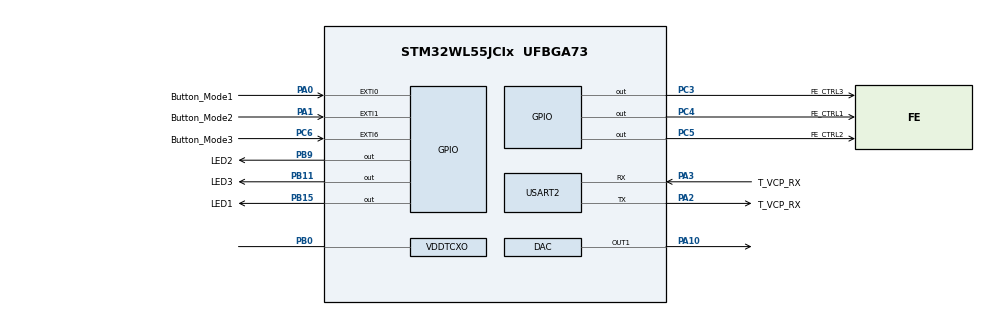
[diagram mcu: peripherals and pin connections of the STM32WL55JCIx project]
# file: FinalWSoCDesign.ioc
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DAC.DAC_Trigger-DAC_OUT1=DAC_TRIGGER_NONE
Mcu.Family=STM32WL
Mcu.Name=STM32WL55JCIx
Mcu.Package=UFBGA73
NVIC.DAC_IRQn=true\:0\:0\:false\:false\:true\:true\:true\:true
NVIC.EXTI0_IRQn=true\:0\:0\:false\:false\:true\:true\:true\:true
NVIC.EXTI1_IRQn=true\:0\:0\:false\:false\:true\:true\:true\:true
NVIC.EXTI9_5_IRQn=true\:0\:0\:false\:false\:true\:true\:true\:true
NVIC.PriorityGroup=NVIC_PRIORITYGROUP_4
NVIC.TIM1_BRK_IRQn=true\:0\:0\:false\:false\:true\:true\:true\:true
NVIC.TIM1_CC_IRQn=true\:0\:0\:false\:false\:true\:true\:true\:true
NVIC.TIM1_TRG_COM_IRQn=true\:0\:0\:false\:false\:true\:true\:true\:true
NVIC.TIM1_UP_IRQn=true\:0\:0\:false\:false\:true\:true\:true\:true
OSC_IN.Mode=HSE-TCXO
OSC_IN.Signal=RCC_OSC_IN
PA0.GPIO_Label=Button_Mode1
PA0.GPIO_ModeDefaultEXTI=GPIO_MODE_IT_FALLING
PA0.GPIO_PuPd=GPIO_PULLUP
PA0.Signal=GPXTI0
PA1.GPIO_Label=Button_Mode2
PA1.GPIO_ModeDefaultEXTI=GPIO_MODE_IT_FALLING
PA1.GPIO_PuPd=GPIO_PULLUP
PA1.Signal=GPXTI1
PA10.Signal=COMP_DAC1_group
PA13.Mode=Serial_Wire
PA13.Signal=DEBUG_JTMS-SWDIO
PA14.Mode=Serial_Wire
PA14.Signal=DEBUG_JTCK-SWCLK
PA2.GPIO_Label=T_VCP_RX
PA2.Mode=Asynchronous
PA2.Signal=USART2_TX
PA3.GPIO_Label=T_VCP_RX
PA3.Mode=Asynchronous
PA3.Signal=USART2_RX
PB0-VDD_TCXO.Mode=HSE-TCXO
PB0-VDD_TCXO.Signal=VDDTCXO
PB11.GPIO_Label=LED3
PB11.GPIO_Speed=GPIO_SPEED_FREQ_HIGH
PB11.Signal=GPIO_Output
PB15.GPIO_Label=LED1
PB15.GPIO_Speed=GPIO_SPEED_FREQ_HIGH
PB15.Signal=GPIO_Output
PB9.GPIO_FM9=__NULL
PB9.GPIO_Label=LED2
PB9.GPIO_Speed=GPIO_SPEED_FREQ_HIGH
PB9.Signal=GPIO_Output
PC14-OSC32_IN.Mode=LSE-External-Oscillator
PC14-OSC32_IN.Signal=RCC_OSC32_IN
PC15-OSC32_OUT.Mode=LSE-External-Oscillator
PC15-OSC32_OUT.Signal=RCC_OSC32_OUT
PC3.GPIO_Label=FE_CTRL3
PC3.GPIO_Speed=GPIO_SPEED_FREQ_VERY_HIGH
PC3.Signal=GPIO_Output
PC4.GPIO_Label=FE_CTRL1
PC4.GPIO_Speed=GPIO_SPEED_FREQ_VERY_HIGH
PC4.Signal=GPIO_Output
PC5.GPIO_Label=FE_CTRL2
PC5.GPIO_Speed=GPIO_SPEED_FREQ_VERY_HIGH
PC5.Signal=GPIO_Output
PC6.GPIO_Label=Button_Mode3
PC6.GPIO_ModeDefaultEXTI=GPIO_MODE_IT_FALLING
PC6.GPIO_PuPd=GPIO_PULLUP
PC6.Signal=GPXTI6
ProjectManager.HeapSize=0x200
ProjectManager.StackSize=0x400
ProjectManager.TargetToolchain=STM32CubeIDE
RCC.HSE_VALUE=16000000
RCC.HSI_VALUE=16000000
RCC.LSE_VALUE=32768
RCC.VCOOutputFreq_Value=32000000
SH.COMP_DAC1_group.0=DAC_OUT1,DAC_OUT1
TIM1.Prescaler=8
USART2.VirtualMode-Asynchronous=VM_ASYNC
VP_TIM1_VS_ClockSourceINT.Mode=Internal
board=NUCLEO-WL55JC1

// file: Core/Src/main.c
/* USER CODE BEGIN Header */
/**
  ******************************************************************************
  * @file           : main.c
  * @brief          : Main program body
  ******************************************************************************
  * @attention
  *
  * Copyright (c) 2023 STMicroelectronics.
  * All rights reserved.
  *
  * This software is licensed under terms that can be found in the LICENSE file
  * in the root directory of this software component.
  * If no LICENSE file comes with this software, it is provided AS-IS.
  *
  ******************************************************************************
  */
/* USER CODE END Header */
#include "main.h"

DAC_HandleTypeDef hdac;

TIM_HandleTypeDef htim1;

UART_HandleTypeDef huart2;

/* USER CODE BEGIN PV */
int modeVar; // mode Select variable
uint32_t dacVolt;
uint32_t DAC_OUT[4] = {0, 1241, 2482, 3723};
/* USER CODE END PV */

void SystemClock_Config(void);
static void MX_GPIO_Init(void);
static void MX_TIM1_Init(void);
static void MX_USART2_UART_Init(void);
static void MX_DAC_Init(void);

int main(void)
{
  /* USER CODE BEGIN 1 */
	modeVar = 0;
	dacVolt = 0;

  /* USER CODE END 1 */

  /* MCU Configuration--------------------------------------------------------*/

  /* Reset of all peripherals, Initializes the Flash interface and the Systick. */
  HAL_Init();

  /* Configure the system clock */
  SystemClock_Config();

  /* Initialize all configured peripherals */
  MX_GPIO_Init();
  MX_TIM1_Init();
  MX_USART2_UART_Init();
  MX_DAC_Init();
  /* USER CODE BEGIN 2 */
  HAL_DAC_Start(&hdac, DAC_CHANNEL_1);
  /* USER CODE END 2 */

  /* Infinite loop */
  /* USER CODE BEGIN WHILE */
  while (1)
  {/* USER CODE BEGIN WHILE */
    /* USER CODE BEGIN 3 */
	if(modeVar != 0)
		{
			HAL_DAC_SetValue(&hdac,DAC_CHANNEL_1,DAC_ALIGN_12B_R, dacVolt);
			HAL_Delay(10);
		}
	  /* USER CODE END 3 */
  }
}

void SystemClock_Config(void)
{
  RCC_OscInitTypeDef RCC_OscInitStruct = {0};
  RCC_ClkInitTypeDef RCC_ClkInitStruct = {0};

  /** Configure LSE Drive Capability
  */
  HAL_PWR_EnableBkUpAccess();
  __HAL_RCC_LSEDRIVE_CONFIG(RCC_LSEDRIVE_LOW);

  /** Configure the main internal regulator output voltage
  */
  __HAL_PWR_VOLTAGESCALING_CONFIG(PWR_REGULATOR_VOLTAGE_SCALE2);

  /** Initializes the CPU, AHB and APB buses clocks
  */
  RCC_OscInitStruct.OscillatorType = RCC_OSCILLATORTYPE_LSE|RCC_OSCILLATORTYPE_MSI;
  RCC_OscInitStruct.LSEState = RCC_LSE_ON;
  RCC_OscInitStruct.MSIState = RCC_MSI_ON;
  RCC_OscInitStruct.MSICalibrationValue = RCC_MSICALIBRATION_DEFAULT;
  RCC_OscInitStruct.MSIClockRange = RCC_MSIRANGE_6;
  RCC_OscInitStruct.PLL.PLLState = RCC_PLL_NONE;
  if (HAL_RCC_OscConfig(&RCC_OscInitStruct) != HAL_OK)
  {
    Error_Handler();
  }

  /** Configure the SYSCLKSource, HCLK, PCLK1 and PCLK2 clocks dividers
  */
  RCC_ClkInitStruct.ClockType = RCC_CLOCKTYPE_HCLK3|RCC_CLOCKTYPE_HCLK
                              |RCC_CLOCKTYPE_SYSCLK|RCC_CLOCKTYPE_PCLK1
                              |RCC_CLOCKTYPE_PCLK2;
  RCC_ClkInitStruct.SYSCLKSource = RCC_SYSCLKSOURCE_MSI;
  RCC_ClkInitStruct.AHBCLKDivider = RCC_SYSCLK_DIV1;
  RCC_ClkInitStruct.APB1CLKDivider = RCC_HCLK_DIV1;
  RCC_ClkInitStruct.APB2CLKDivider = RCC_HCLK_DIV1;
  RCC_ClkInitStruct.AHBCLK3Divider = RCC_SYSCLK_DIV1;

  if (HAL_RCC_ClockConfig(&RCC_ClkInitStruct, FLASH_LATENCY_0) != HAL_OK)
  {
    Error_Handler();
  }
}

static void MX_DAC_Init(void)
{

  DAC_ChannelConfTypeDef sConfig = {0};

  /** DAC Initialization
  */
  hdac.Instance = DAC;
  if (HAL_DAC_Init(&hdac) != HAL_OK)
  {
    Error_Handler();
  }

  /** DAC channel OUT1 config
  */
  sConfig.DAC_SampleAndHold = DAC_SAMPLEANDHOLD_DISABLE;
  sConfig.DAC_Trigger = DAC_TRIGGER_NONE;
  sConfig.DAC_OutputBuffer = DAC_OUTPUTBUFFER_ENABLE;
  sConfig.DAC_ConnectOnChipPeripheral = DAC_CHIPCONNECT_DISABLE;
  sConfig.DAC_UserTrimming = DAC_TRIMMING_FACTORY;
  if (HAL_DAC_ConfigChannel(&hdac, &sConfig, DAC_CHANNEL_1) != HAL_OK)
  {
    Error_Handler();
  }

}

static void MX_TIM1_Init(void)
{

  TIM_ClockConfigTypeDef sClockSourceConfig = {0};
  TIM_MasterConfigTypeDef sMasterConfig = {0};

  htim1.Instance = TIM1;
  htim1.Init.Prescaler = 8;
  htim1.Init.CounterMode = TIM_COUNTERMODE_UP;
  htim1.Init.Period = 65535;
  htim1.Init.ClockDivision = TIM_CLOCKDIVISION_DIV1;
  htim1.Init.RepetitionCounter = 0;
  htim1.Init.AutoReloadPreload = TIM_AUTORELOAD_PRELOAD_DISABLE;
  if (HAL_TIM_Base_Init(&htim1) != HAL_OK)
  {
    Error_Handler();
  }
  sClockSourceConfig.ClockSource = TIM_CLOCKSOURCE_INTERNAL;
  if (HAL_TIM_ConfigClockSource(&htim1, &sClockSourceConfig) != HAL_OK)
  {
    Error_Handler();
  }
  sMasterConfig.MasterOutputTrigger = TIM_TRGO_RESET;
  sMasterConfig.MasterOutputTrigger2 = TIM_TRGO2_RESET;
  sMasterConfig.MasterSlaveMode = TIM_MASTERSLAVEMODE_DISABLE;
  if (HAL_TIMEx_MasterConfigSynchronization(&htim1, &sMasterConfig) != HAL_OK)
  {
    Error_Handler();
  }

}

static void MX_USART2_UART_Init(void)
{

  huart2.Instance = USART2;
  huart2.Init.BaudRate = 115200;
  huart2.Init.WordLength = UART_WORDLENGTH_8B;
  huart2.Init.StopBits = UART_STOPBITS_1;
  huart2.Init.Parity = UART_PARITY_NONE;
  huart2.Init.Mode = UART_MODE_TX_RX;
  huart2.Init.HwFlowCtl = UART_HWCONTROL_NONE;
  huart2.Init.OverSampling = UART_OVERSAMPLING_16;
  huart2.Init.OneBitSampling = UART_ONE_BIT_SAMPLE_DISABLE;
  huart2.Init.ClockPrescaler = UART_PRESCALER_DIV1;
  huart2.AdvancedInit.AdvFeatureInit = UART_ADVFEATURE_NO_INIT;
  if (HAL_UART_Init(&huart2) != HAL_OK)
  {
    Error_Handler();
  }
  if (HAL_UARTEx_SetTxFifoThreshold(&huart2, UART_TXFIFO_THRESHOLD_1_8) != HAL_OK)
  {
    Error_Handler();
  }
  if (HAL_UARTEx_SetRxFifoThreshold(&huart2, UART_RXFIFO_THRESHOLD_1_8) != HAL_OK)
  {
    Error_Handler();
  }
  if (HAL_UARTEx_DisableFifoMode(&huart2) != HAL_OK)
  {
    Error_Handler();
  }

}

static void MX_GPIO_Init(void)
{
  GPIO_InitTypeDef GPIO_InitStruct = {0};

  /* GPIO Ports Clock Enable */
  __HAL_RCC_GPIOA_CLK_ENABLE();
  __HAL_RCC_GPIOB_CLK_ENABLE();
  __HAL_RCC_GPIOC_CLK_ENABLE();

  /*Configure GPIO pin Output Level */
  HAL_GPIO_WritePin(GPIOB, LED1_Pin|LED2_Pin|LED3_Pin, GPIO_PIN_RESET);

  /*Configure GPIO pin Output Level */
  HAL_GPIO_WritePin(GPIOC, FE_CTRL3_Pin|FE_CTRL2_Pin|FE_CTRL1_Pin, GPIO_PIN_RESET);

  /*Configure GPIO pins : LED1_Pin LED2_Pin LED3_Pin */
  GPIO_InitStruct.Pin = LED1_Pin|LED2_Pin|LED3_Pin;
  GPIO_InitStruct.Mode = GPIO_MODE_OUTPUT_PP;
  GPIO_InitStruct.Pull = GPIO_NOPULL;
  GPIO_InitStruct.Speed = GPIO_SPEED_FREQ_HIGH;
  HAL_GPIO_Init(GPIOB, &GPIO_InitStruct);

  /*Configure GPIO pins : FE_CTRL3_Pin FE_CTRL2_Pin FE_CTRL1_Pin */
  GPIO_InitStruct.Pin = FE_CTRL3_Pin|FE_CTRL2_Pin|FE_CTRL1_Pin;
  GPIO_InitStruct.Mode = GPIO_MODE_OUTPUT_PP;
  GPIO_InitStruct.Pull = GPIO_NOPULL;
  GPIO_InitStruct.Speed = GPIO_SPEED_FREQ_VERY_HIGH;
  HAL_GPIO_Init(GPIOC, &GPIO_InitStruct);

  /*Configure GPIO pins : Button_Mode1_Pin Button_Mode2_Pin */
  GPIO_InitStruct.Pin = Button_Mode1_Pin|Button_Mode2_Pin;
  GPIO_InitStruct.Mode = GPIO_MODE_IT_FALLING;
  GPIO_InitStruct.Pull = GPIO_PULLUP;
  HAL_GPIO_Init(GPIOA, &GPIO_InitStruct);

  /*Configure GPIO pin : Button_Mode3_Pin */
  GPIO_InitStruct.Pin = Button_Mode3_Pin;
  GPIO_InitStruct.Mode = GPIO_MODE_IT_FALLING;
  GPIO_InitStruct.Pull = GPIO_PULLUP;
  HAL_GPIO_Init(Button_Mode3_GPIO_Port, &GPIO_InitStruct);

  /* EXTI interrupt init*/
  HAL_NVIC_SetPriority(EXTI0_IRQn, 0, 0);
  HAL_NVIC_EnableIRQ(EXTI0_IRQn);

  HAL_NVIC_SetPriority(EXTI1_IRQn, 0, 0);
  HAL_NVIC_EnableIRQ(EXTI1_IRQn);

  HAL_NVIC_SetPriority(EXTI9_5_IRQn, 0, 0);
  HAL_NVIC_EnableIRQ(EXTI9_5_IRQn);

}

/* USER CODE BEGIN 4 */
void HAL_GPIO_EXTI_Callback(uint16_t GPIO_Pin)
{

	if(GPIO_Pin == Button_Mode1_Pin)
		{
			HAL_GPIO_TogglePin(GPIOB, GPIO_PIN_15); // Toggle LED 1 for half a second
			for(int i = 0;  i<200000 ;i++);
			HAL_GPIO_TogglePin(GPIOB, GPIO_PIN_15); // end toggle
			modeVar = 1;
		}
	if(GPIO_Pin == Button_Mode2_Pin)
		{

			HAL_GPIO_TogglePin(GPIOB, GPIO_PIN_9); // Toggle LED 2 for half a second
			for(int i = 0;  i<200000 ;i++);
			HAL_GPIO_TogglePin(GPIOB, GPIO_PIN_9); // end toggle
			modeVar = 2;
		}
	if(GPIO_Pin == Button_Mode3_Pin)
		{
			HAL_GPIO_TogglePin(GPIOB, GPIO_PIN_11); // Toggle LED 3 for half a second
			for(int i = 0;  i<200000 ;i++);
			HAL_GPIO_TogglePin(GPIOB, GPIO_PIN_11); // ed toggle
			modeVar = 3;
		}
	dacVolt = DAC_OUT[modeVar];
}

/* USER CODE END 4 */

void Error_Handler(void)
{
  __disable_irq();
  while (1)
  {
  }
}
